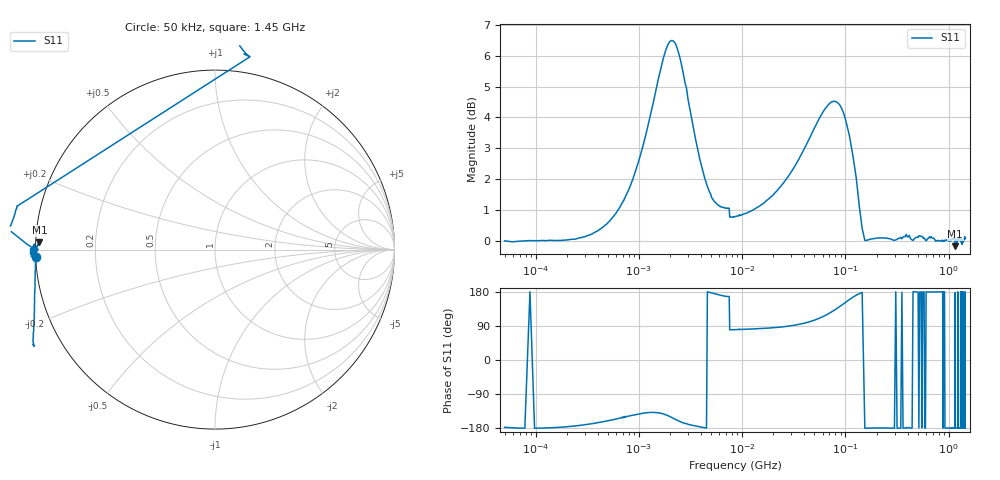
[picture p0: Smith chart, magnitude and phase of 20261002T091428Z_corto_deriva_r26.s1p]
! piloto_deriva / corto_deriva / r26
# HZ S RI R 50
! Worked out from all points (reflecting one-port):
!   501 points, 50 kHz to 1.45 GHz, reference 50 ohm
!   lowest |S11| = -0.2 dB at 1.153 GHz (marker M1), VSWR 95.96, Z = 0.521 + j1.03 ohm
!   phase of S11 starts at -178 deg and turns -2 deg over the sweep
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50000  -0.9982 -0.0389
183000  -0.9999 -0.0526
373000  -1.004 -0.234
658000  -1.014 -0.5101
1180000  -1.135 -0.9771
1630000  -1.468 -1.211
1990000  -1.808 -1.081
2170000  -1.899 -0.913
2440000  -1.9 -0.648
3160000  -1.592 -0.2408
4330000  -1.263 -0.0303
7300000  -1.103 0.2429
7750000  0.1942 1.074
8560000  0.1874 1.079
1.9e7  0.1087 1.173
3.16e7  -0.0355 1.312
4.69e7  -0.3215 1.455
6.76e7  -0.8617 1.417
7.93e7  -1.14 1.238
9.37e7  -1.355 0.9
9.82e7  -1.384 0.7837
1e8  -1.39 0.7365
1.18e8  -1.331 0.3393
1.36e8  -1.134 0.0998
1.63e8  -1.001 -0.00388
4.06e8  -1.014 -0.0209
1.153e9  -0.9785 0.0403
1.45e9  -1.012 -0.00793
